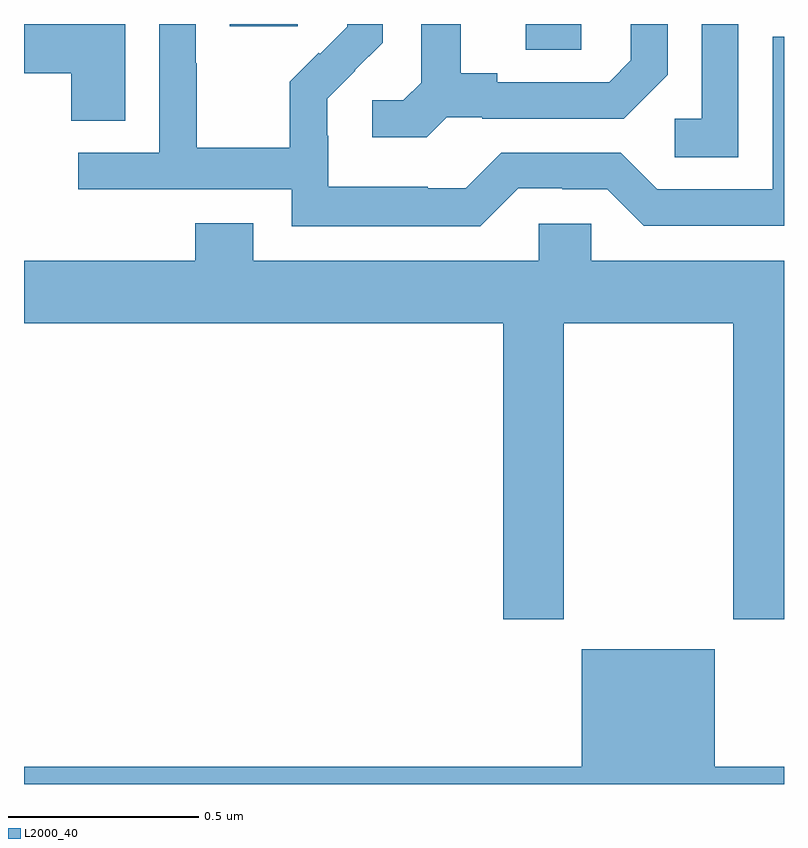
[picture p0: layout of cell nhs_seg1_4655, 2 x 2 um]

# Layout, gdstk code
import gdstk
lib = gdstk.Library(unit=1e-6, precision=1e-09)
def R(c, l, rs):  # rectangles x0, y0, x1, y1
    for r in rs: c.add(gdstk.rectangle(r[:2], r[2:], *l))
def P(c, l, *ps):  # polygons
    for p in ps: c.add(gdstk.Polygon(p, *l))
L2000_40 = (2000, 40)

nhs_seg1_4655 = lib.new_cell('nhs_seg1_4655')
R(nhs_seg1_4655, L2000_40, [(170.321,539.131,170.466,539.199), (169.541,539.193,169.72,539.199)])
P(nhs_seg1_4655, L2000_40, [(169.267,539.199),(169,539.199),(169,539.069),(169.124,539.069),(169.124,538.945),(169.267,538.945)],
  [(170.88,539.199),(170.784,539.199),(170.784,538.95),(170.712,538.95),(170.712,538.849),(170.88,538.849)],
  [(170.112,538.953),(170.206,538.953),(170.206,538.95),(170.578,538.95),(170.694,539.066),(170.694,539.199),(170.597,539.199),(170.597,539.103),(170.54,539.046),(170.245,539.046),(170.245,539.069),(170.149,539.069),(170.149,539.199),(170.045,539.199),(170.045,539.045),(169.998,538.998),(169.917,538.998),(169.917,538.901),(170.06,538.901)],
  [(170.301,538.767),(170.417,538.767),(170.417,538.764),(170.535,538.764),(170.631,538.668),(171,538.668),(171,539.166),(170.97,539.166),(170.97,538.764),(170.667,538.764),(170.571,538.86),(170.256,538.86),(170.163,538.767),(170.063,538.767),(170.063,538.771),(169.8,538.771),(169.8,538.905),(169.798,538.905),(169.798,539.002),(169.872,539.076),(169.871,539.077),(169.944,539.15),(169.944,539.199),(169.85,539.199),(169.85,539.192),(169.779,539.121),(169.776,539.124),(169.699,539.047),(169.699,538.873),(169.455,538.873),(169.455,539.096),(169.452,539.096),(169.452,539.199),(169.356,539.199),(169.356,538.86),(169.143,538.86),(169.143,538.764),(169.704,538.764),(169.704,538.667),(170.201,538.667)],
  [(170.421,538.412),(170.866,538.412),(170.866,537.633),(171,537.633),(171,538.576),(170.493,538.576),(170.493,538.674),(170.355,538.674),(170.355,538.576),(169.603,538.576),(169.603,538.675),(169.451,538.675),(169.451,538.576),(169,538.576),(169,538.412),(170.261,538.412),(170.261,537.633),(170.421,537.633)],
  [(171,537.244),(170.818,537.244),(170.818,537.553),(170.468,537.553),(170.468,537.244),(169,537.244),(169,537.199),(171,537.199)])

lib.write_gds('nhs_seg1_4655.gds')
